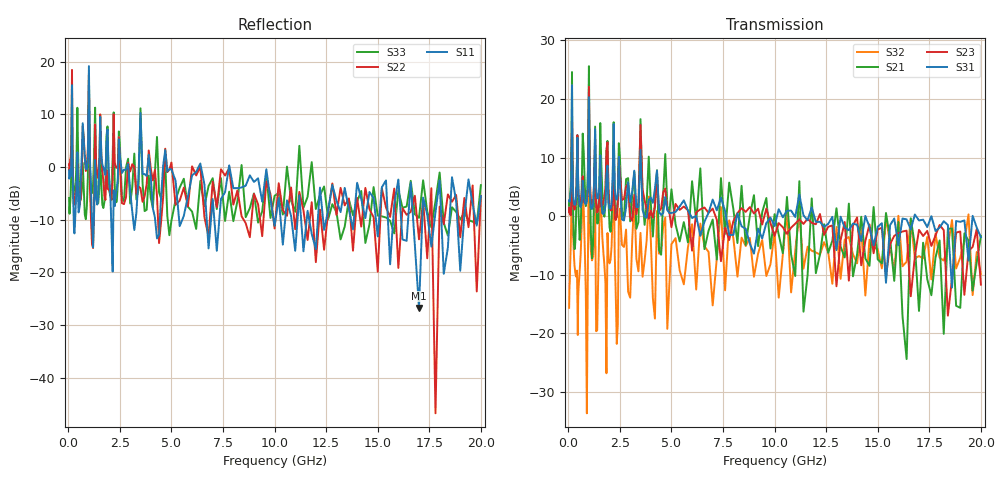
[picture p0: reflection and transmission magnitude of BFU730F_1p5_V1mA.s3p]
! Filename:  P:\Prog\Test\Noise\ATS_data\Testdata_Net\Split files Spar\BFU730_2W_B1_Bias1_1.5V_1mA_30mA_D.s2p
! Date/Time: Fri 29/Apr/2011 14:16:34
! BFU730_2W_B1_Bias1_1.5V_1mA_30mA_R.s2p
! MDIF S-parameter v. bias file
! BFU730_2W_B1_1.5V_1mA_30mA
! Date/time Thu Mar 17 13:45:32 2011
! bias mode 1
! bias variable = I_out
! VAR bias_var= 1
! VAR V_out= 1.5001
! VAR I_out= 1.0350
! VAR V_in= 0.7495
! VAR I_in= 0.0029
! Device data file deembeded for feedlines and parallel
! Original file: \Split files Spar\BFU730_2W_B1_Bias1_1.5V_1mA_30mA_R.s2p
! Feed-files: PR003V01_101208_Feed1.s2p, PR003V01_101208_Feed2.s2p
! Parallel-file: PR003V01_101208_Par.s2p
!3-port S-parameters
# GHz S MA R 50
!  Freq-GHz  S11-mag  S11-arg  S12-mag  S12-arg  S13-mag  S13-arg  S21-mag  S21-arg  S22-mag  S22-arg  S23-mag  S23-arg  S31-mag  S31-arg  S32-mag  S32-arg  S33-mag  S33-arg
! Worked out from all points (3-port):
!   167 points, 40 MHz to 20 GHz, reference 50 ohm
!   strongest paths, dB at 40 MHz, 1.25 GHz, 4.2 GHz, 11.8 GHz, 20 GHz:
!     S31: 2.7, 5.6, 4.7, 1.5, -3.6
!     S23: 1.4, 5.3, 1.7, -1.2, -11.7
!     S21: 0.9, 4.0, 2.4, 3.0, -3.4
!     S32: -15.7, -3.1, -17.5, -5.9, -9.9
!   lowest |S11| = -26.7 dB at 17 GHz (marker M1), VSWR 1.10, Z = 49 + j4.46 ohm
!   |S11| at or under -10 dB: 11.68 GHz to 12.1 GHz (417.5 MHz wide, 3.51 % of centre); 16.72 GHz to 17.16 GHz (440 MHz wide, 2.6 % of centre); 18.08 GHz to 18.48 GHz (394.9 MHz wide, 2.16 % of centre) (the widest 3 of 23)
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0.04  0.7903 -19.8  0.09283 105.4  0.3332 32.4
      1.114 170.9  0.9478 -13.3  1.178 2.1
      1.359 3.9  0.1645 51.5  0.5094 -154.2
0.18  5.994 126.5  3.269 -36.7  3.462 -55.8
      16.98 -1.7  8.352 -170.7  7.947 166.6
      13.14 -160.8  7.401 26.5  6.862 8.6
0.2  1.438 13.4  0.2584 -133.8  0.2645 -146.3
     3.411 -102.5  1.605 82.2  2.312 48.8
     3.016 83.5  1.702 -55.6  1.621 -100.8
0.44  1.385 27.0  0.05088 146.2  0.6849 -106.3
      4.92 -174.6  1.075 -12.1  4.895 8.0
      4.667 -2.1  0.1968 92.7  3.655 -179.6
0.95  1.258 -70.7  0.3975 118.8  1.144 47.2
      2.459 107.5  1.505 -28.0  1.689 -75.9
      1.759 -41.1  0.3835 111.0  0.8204 103.2
1  9.069 126.0  4.033 -18.7  6.545 -67.5
   19.07 -30.6  7.692 -177.0  12.72 127.4
   10.36 166.8  5.148 19.2  7.431 -33.1
1.3  1.165 49.7  0.3323 -124.4  0.7516 -54.8
     5.812 -142.7  2.546 5.7  4.498 46.6
     5.537 28.4  1.346 179.1  3.662 -133.6
10.2  0.5081 -11.3  0.1214 -13.4  0.4043 18.4
      0.694 -131.2  0.7026 8.3  0.8704 28.9
      1.143 32.9  0.2007 -21.5  0.567 -104.9
17  0.04617 100.3  0.4386 0.0  0.5715 -4.6
    0.1547 47.2  0.2063 -49.3  0.7615 3.2
    0.917 -10.0  0.4545 20.1  0.3299 179.5
20  0.5296 79.6  0.2834 -49.2  0.7819 -23.1
    0.6754 8.1  0.5315 8.3  0.2595 -138.6
    0.6594 -69.0  0.3198 25.5  0.6742 45.2
